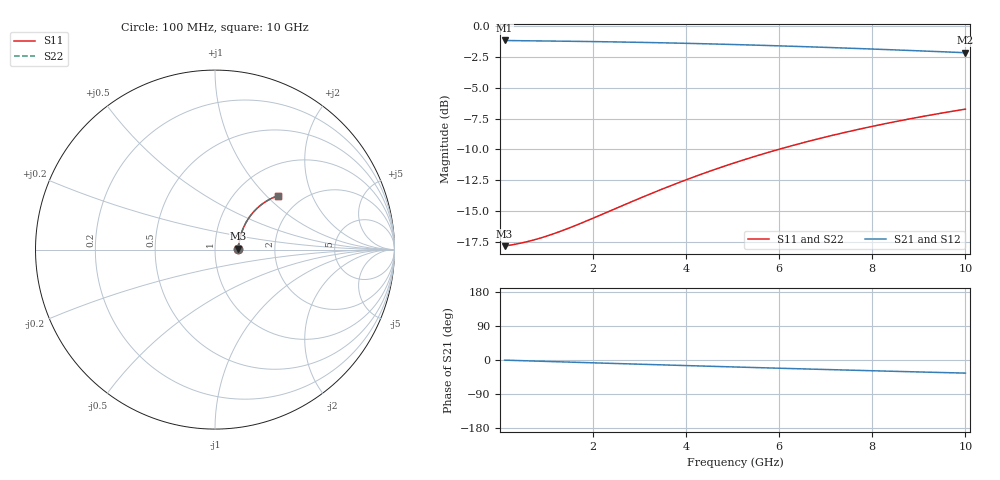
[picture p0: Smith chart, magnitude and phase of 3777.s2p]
# Hz S RI R 50.00
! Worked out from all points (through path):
!   100 points, 100 MHz to 10 GHz, reference 50 ohm
!   highest |S21| = -1.20 dB at 100 MHz (marker M1); lowest = -2.2 dB at 10 GHz (marker M2)
!   group delay of S21, straight-line fit = 9.65 ps
!   lowest |S11| = -17.8 dB at 100 MHz (marker M3), VSWR 1.30, Z = 64.8 + j0.565 ohm
!   |S11| at or under -10 dB: start of sweep to 5.981 GHz
!   |S22| runs from -17.8 to -6.7 dB; largest |S21 - S12| = 0
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1e8  0.1287 0.00429  0.8713 -0.0057  0.8713 -0.0057  0.1287 0.00429
5e8  0.1314 0.0213  0.8686 -0.0283  0.8686 -0.0283  0.1314 0.0213
7e8  0.1327 0.0298  0.8673 -0.0396  0.8673 -0.0396  0.1327 0.0298
9e8  0.134 0.0382  0.8659 -0.0508  0.8659 -0.0508  0.134 0.0382
1.1e9  0.1356 0.0466  0.8643 -0.062  0.8643 -0.062  0.1356 0.0466
1.3e9  0.1373 0.0549  0.8625 -0.0731  0.8625 -0.0731  0.1373 0.0549
1.8e9  0.1423 0.0754  0.8574 -0.1007  0.8574 -0.1007  0.1423 0.0754
2.6e9  0.1527 0.1073  0.8466 -0.1438  0.8466 -0.1438  0.1527 0.1073
3.4e9  0.1659 0.1376  0.8328 -0.1854  0.8328 -0.1854  0.1659 0.1376
3.9e9  0.1756 0.1556  0.8227 -0.2105  0.8227 -0.2105  0.1756 0.1556
4.3e9  0.1841 0.1695  0.8139 -0.23  0.8139 -0.23  0.1841 0.1695
4.7e9  0.1932 0.1828  0.8045 -0.2489  0.8045 -0.2489  0.1932 0.1828
5.1e9  0.2028 0.1955  0.7944 -0.2673  0.7944 -0.2673  0.2028 0.1955
5.5e9  0.2129 0.2077  0.7838 -0.2851  0.7838 -0.2851  0.2129 0.2077
5.9e9  0.2235 0.2192  0.7727 -0.3023  0.7727 -0.3023  0.2235 0.2192
6.3e9  0.2346 0.2301  0.7612 -0.3189  0.7612 -0.3189  0.2346 0.2301
6.7e9  0.246 0.2403  0.7492 -0.3348  0.7492 -0.3348  0.246 0.2403
7.5e9  0.2698 0.2588  0.7242 -0.3648  0.7242 -0.3648  0.2698 0.2588
7.9e9  0.2821 0.267  0.7112 -0.3787  0.7112 -0.3787  0.2821 0.267
8.4e9  0.2978 0.2764  0.6947 -0.3953  0.6947 -0.3953  0.2978 0.2764
9.2e9  0.3233 0.2893  0.6676 -0.4197  0.6676 -0.4197  0.3233 0.2893
1e10  0.3492 0.2996  0.64 -0.4416  0.64 -0.4416  0.3492 0.2996
